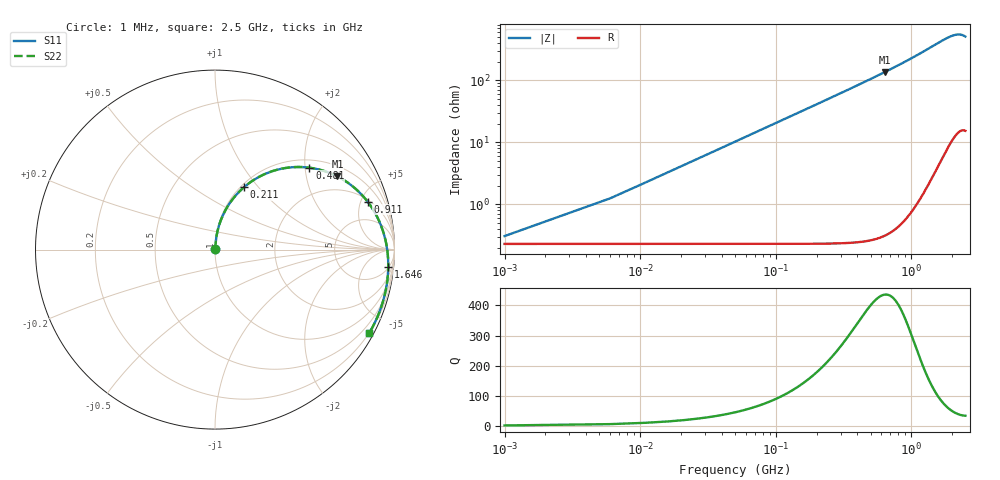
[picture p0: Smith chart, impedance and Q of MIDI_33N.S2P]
! Coilcraft 1812SMS-33N Midi Spring Air Core Inductor
! 10 June 2003
# MHZ S MA R 50
!Freq  MagS11  AngS11  MagS21  AngS21  MagS12  AngS12  MagS22  AngS22
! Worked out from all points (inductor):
!   501 points, 1 MHz to 2.5 GHz, reference 50 ohm
!   read as one part in series: L = 32.7 nH near 11 MHz
!   highest Q = 436 at 636 MHz (marker M1), where L = 34.2 nH
!   S11 on the Smith chart (normalised r, x): 1 MHz: 1.00, +0.00; 211 MHz: 1.04, +0.85; 481 MHz: 1.19, +2.11; 911 MHz: 2.20, +5.69; 1.646 GHz: 5, -18; 2.5 GHz: 0.19, -3.93
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1  0.003026 40.4  0.9977 -0.1  0.9977 -0.1  0.003027 40.4
6  0.01201 78.2  0.9976 -0.7  0.9976 -0.7  0.01201 78.2
16  0.0315 83.9  0.9972 -2.0  0.9972 -2.0  0.03152 83.9
21  0.04129 84.2  0.9968 -2.6  0.9968 -2.6  0.0413 84.2
26  0.05107 84.2  0.9964 -3.2  0.9964 -3.2  0.05109 84.2
36  0.0706 83.7  0.9952 -4.4  0.9952 -4.4  0.07063 83.7
51  0.09975 82.5  0.9927 -6.2  0.9927 -6.2  0.09979 82.5
76  0.1478 79.9  0.9867 -9.2  0.9867 -9.2  0.1478 79.9
111  0.2134 76.0  0.9747 -13.4  0.9747 -13.4  0.2135 76.0
156  0.2938 71.0  0.9536 -18.6  0.9536 -18.6  0.2939 71.0
211  0.3847 65.0  0.9209 -24.7  0.9209 -24.7  0.3848 65.0
311  0.5257 55.0  0.8486 -34.8  0.8486 -34.8  0.5259 55.0
421  0.6452 45.5  0.762 -44.4  0.762 -44.4  0.6454 45.5
481  0.6965 40.9  0.7155 -48.9  0.7155 -48.9  0.6968 40.9
636  0.7946 30.9  0.605 -59.0  0.605 -59.0  0.7949 30.9
836  0.8714 20.7  0.488 -69.2  0.488 -69.2  0.8717 20.7
911  0.8909 17.5  0.4512 -72.4  0.4512 -72.4  0.8912 17.5
1251  0.9445 5.4  0.3225 -84.3  0.3225 -84.3  0.9449 5.4
1646  0.9702 -5.8  0.2296 -95.1  0.2296 -95.1  0.9705 -5.8
1671  0.9711 -6.5  0.2253 -95.7  0.2253 -95.7  0.9715 -6.5
2086  0.9793 -17.1  0.1782 -105.8  0.1782 -105.8  0.9797 -17.1
2500  0.9769 -28.5  0.1812 -116.6  0.1812 -116.6  0.9773 -28.5
